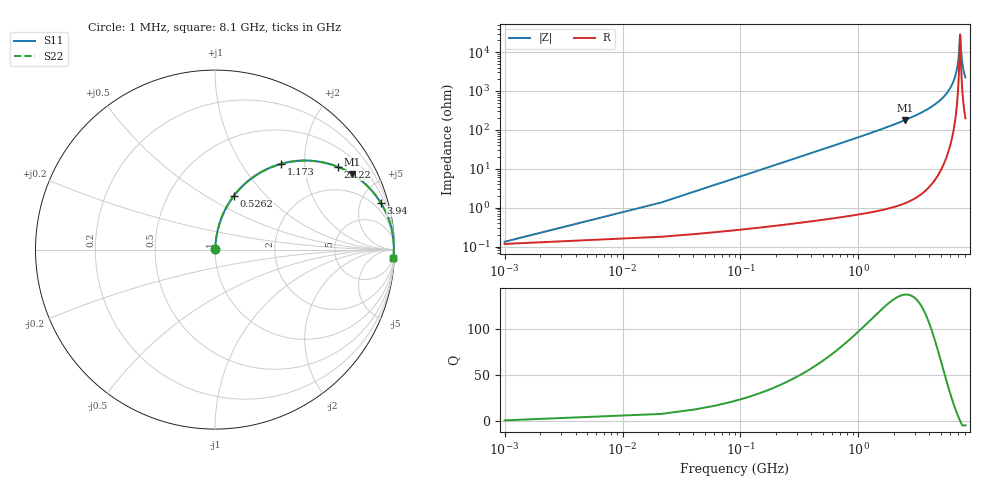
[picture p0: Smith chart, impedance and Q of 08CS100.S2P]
! Coilcraft 0805CS-100 Chip Inductor
! 11 June 2002
# MHZ S MA R 50
!Freq  MagS11  AngS11  MagS21  AngS21  MagS12  AngS12  MagS22  AngS22
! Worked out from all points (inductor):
!   402 points, 1 MHz to 8.1 GHz, reference 50 ohm
!   read as one part in series: L = 10.1 nH near 41.4 MHz
!   highest Q = 137 at 2.506 GHz (marker M1), where L = 11.4 nH
!   self-resonance near 7.293 GHz
!   S11 on the Smith chart (normalised r, x): 1 MHz: 1.00, +0.00; 526.2 MHz: 1.01, +0.67; 1.173 GHz: 1.01, +1.53; 2.122 GHz: 1.02, +2.94; 3.94 GHz: 1.07, +7.05; 8.1 GHz: 5, -44
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1  0.001331 28.4  0.9988 -0.0  0.9988 -0.0  0.001331 28.4
61.6  0.03904 84.3  0.9969 -2.2  0.9969 -2.2  0.03904 84.3
122.2  0.07717 83.4  0.9941 -4.4  0.9941 -4.4  0.07717 83.4
283.8  0.1769 78.6  0.9804 -10.2  0.9804 -10.2  0.1769 78.6
526.2  0.3168 70.7  0.9438 -18.5  0.9438 -18.5  0.3168 70.7
1172.6  0.6043 52.3  0.7911 -37.2  0.7911 -37.2  0.6043 52.3
1354.4  0.662 48.0  0.7437 -41.4  0.7437 -41.4  0.662 48.0
2122  0.8241 34.1  0.5603 -55.5  0.5603 -55.5  0.8241 34.1
2505.8  0.8717 28.9  0.4837 -60.7  0.4837 -60.7  0.8717 28.9
2707.8  0.8911 26.6  0.4473 -63.0  0.4473 -63.0  0.8911 26.6
3940  0.9597 15.8  0.2722 -73.7  0.2722 -73.7  0.9597 15.8
4061.2  0.9636 15.0  0.2583 -74.5  0.2583 -74.5  0.9636 15.0
5414.6  0.989 7.5  0.1297 -81.4  0.1297 -81.4  0.989 7.5
6222.6  0.9947 4.0  0.06919 -83.6  0.06919 -83.6  0.9947 4.0
6768  0.9963 1.9  0.03302 -82.6  0.03302 -82.6  0.9963 1.9
7050.8  0.9966 0.9  0.01561 -76.9  0.01561 -76.9  0.9966 0.9
7151.8  0.9966 0.5  0.009738 -69.2  0.009738 -69.2  0.9966 0.5
7273  0.9966 0.1  0.003939 -28.9  0.003939 -28.9  0.9966 0.1
7313.4  0.9965 -0.0  0.003501 7.7  0.003501 7.7  0.9965 -0.0
7475  0.9964 -0.6  0.01049 69.5  0.01049 69.5  0.9964 -0.6
7616.4  0.9962 -1.0  0.01829 77.4  0.01829 77.4  0.9962 -1.0
8100  0.995 -2.5  0.04457 82.3  0.04457 82.3  0.995 -2.5
